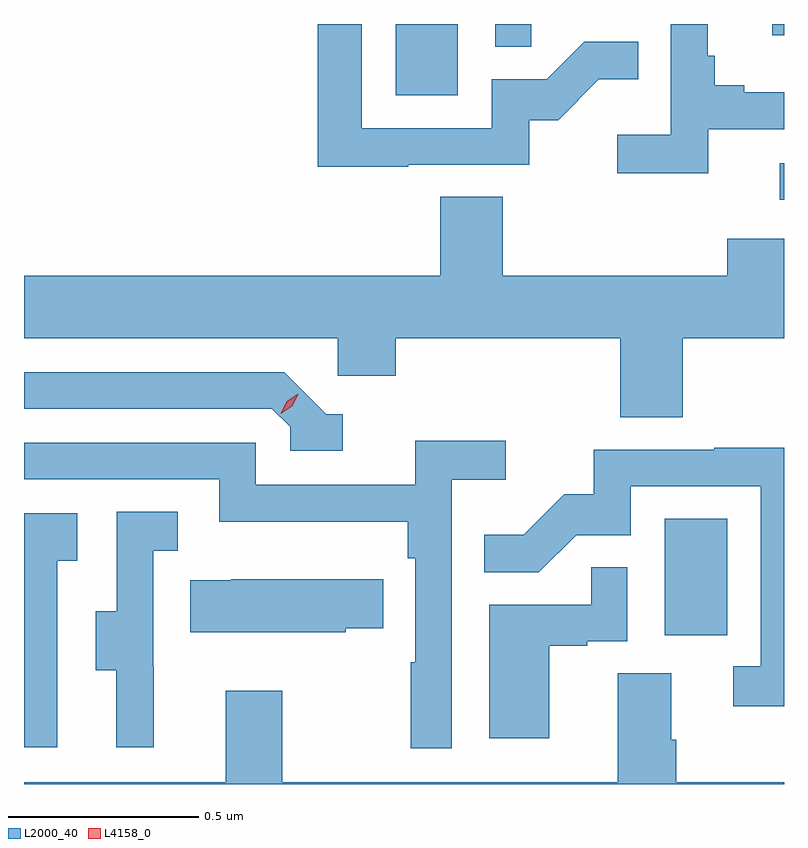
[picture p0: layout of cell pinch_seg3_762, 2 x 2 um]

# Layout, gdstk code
import gdstk
lib = gdstk.Library(unit=1e-6, precision=1e-09)
def R(c, l, rs):  # rectangles x0, y0, x1, y1
    for r in rs: c.add(gdstk.rectangle(r[:2], r[2:], *l))
def P(c, l, *ps):  # polygons
    for p in ps: c.add(gdstk.Polygon(p, *l))
L2000_40 = (2000, 40)
L4158_0 = (4158, 0)

pinch_seg3_762 = lib.new_cell('pinch_seg3_762')
R(pinch_seg3_762, L2000_40, [(845.126,737.43,845.29,737.737), (845.429,738.576,845.44,738.672), (844.418,738.852,844.582,739.039), (844.68,738.979,844.775,739.039), (845.409,739.01,845.44,739.039)])
P(pinch_seg3_762, L2000_40, [(844.451,738.669),(844.77,738.669),(844.77,738.786),(844.846,738.786),(844.953,738.893),(845.057,738.893),(845.057,738.992),(844.914,738.992),(844.816,738.894),(844.671,738.894),(844.671,738.765),(844.329,738.765),(844.329,739.039),(844.213,739.039),(844.213,738.664),(844.451,738.664)],
  [(845.24,738.762),(845.44,738.762),(845.44,738.859),(845.335,738.859),(845.335,738.878),(845.258,738.878),(845.258,738.955),(845.239,738.955),(845.239,739.039),(845.142,739.039),(845.142,738.748),(845.001,738.748),(845.001,738.646),(845.24,738.646)],
  [(845.174,738.212),(845.44,738.212),(845.44,738.474),(845.291,738.474),(845.291,738.376),(844.7,738.376),(844.7,738.584),(844.535,738.584),(844.535,738.376),(843.44,738.376),(843.44,738.212),(844.266,738.212),(844.266,738.114),(844.418,738.114),(844.418,738.212),(845.009,738.212),(845.009,738.004),(845.174,738.004)],
  [(844.279,738.012),(844.236,738.012),(844.125,738.123),(843.44,738.123),(843.44,738.027),(844.092,738.027),(844.14,737.979),(844.14,737.916),(844.279,737.916)],
  [(844.566,737.84),(844.708,737.84),(844.708,737.942),(844.469,737.942),(844.469,737.826),(844.05,737.826),(844.05,737.937),(843.44,737.937),(843.44,737.841),(843.954,737.841),(843.954,737.729),(844.45,737.729),(844.45,737.633),(844.47,737.633),(844.47,737.36),(844.458,737.36),(844.458,737.133),(844.566,737.133)],
  [(845.44,737.924),(845.257,737.924),(845.257,737.919),(844.939,737.919),(844.939,737.802),(844.862,737.802),(844.755,737.695),(844.651,737.695),(844.651,737.596),(844.795,737.596),(844.893,737.694),(845.037,737.694),(845.037,737.823),(845.379,737.823),(845.379,737.349),(845.307,737.349),(845.307,737.244),(845.44,737.244)],
  [(843.782,737.349),(843.78,737.349),(843.78,737.653),(843.844,737.653),(843.844,737.756),(843.684,737.756),(843.684,737.493),(843.629,737.493),(843.629,737.338),(843.683,737.338),(843.683,737.136),(843.782,737.136)],
  [(843.528,737.627),(843.58,737.627),(843.58,737.751),(843.44,737.751),(843.44,737.136),(843.528,737.136)],
  [(844.822,737.403),(844.922,737.403),(844.922,737.415),(845.028,737.415),(845.028,737.609),(844.933,737.609),(844.933,737.511),(844.664,737.511),(844.664,737.16),(844.822,737.16)],
  [(844.287,737.449),(844.385,737.449),(844.385,737.578),(843.985,737.578),(843.985,737.575),(843.877,737.575),(843.877,737.438),(844.287,737.438)],
  [(845.44,737.044),(845.156,737.044),(845.156,737.156),(845.143,737.156),(845.143,737.33),(845.003,737.33),(845.003,737.044),(844.119,737.044),(844.119,737.284),(843.971,737.284),(843.971,737.044),(843.44,737.044),(843.44,737.039),(845.44,737.039)])
P(pinch_seg3_762, L4158_0, [(844.115,738.013),(844.115,738.013),(844.131,738.046),(844.162,738.066),(844.162,738.066),(844.162,738.066),(844.146,738.033),(844.116,738.013)])

lib.write_gds('pinch_seg3_762.gds')
